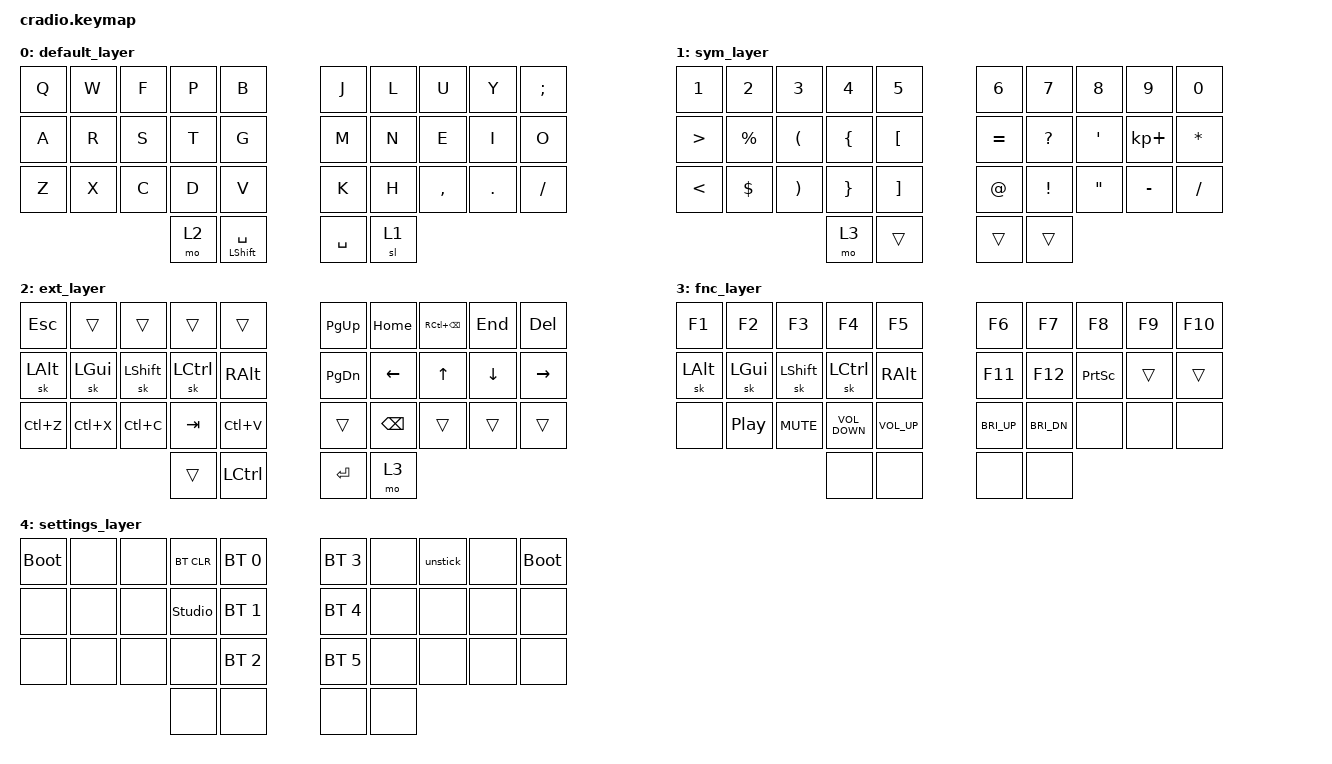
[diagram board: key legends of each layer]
/*
 * Copyright (c) 2020 The ZMK Contributors
 *
 * SPDX-License-Identifier: MIT
 */

#include <behaviors.dtsi>
#include <dt-bindings/zmk/bt.h>
#include <dt-bindings/zmk/keys.h>

// Layer definitions

#define BASE 0
#define SYM 1
#define EXT 2
#define FNC 3
#define SETTINGS 4

// -----------------

&mt {
    //  flavor = "tap-preferred";
    // tapping_term_ms = <200>;
};

&sk { ignore-modifiers; };

/ {
    macros {
        // sometimes my device thinks a modifier is being held down
        // pressing all modifiers fixes it.

        unstick: unstick {
            label = "ZM_unstick";
            compatible = "zmk,behavior-macro";
            #binding-cells = <0>;
            bindings = <&kp LSHIFT &kp RSHIFT &kp LCTRL &kp RCTRL &kp LALT &kp RALT &kp LGUI &kp RGUI>;
        };
    };

    combos {
        compatible = "zmk,combos";

        // both right thumb keys

        combo_accent {
            timeout-ms = <300>;
            key-positions = <32 33>;
            bindings = <&mo 0>;
        };

        // internal-left & external-right thumb keys

        combo_sym2 {
            timeout-ms = <200>;
            key-positions = <31 33>;
            bindings = <&mo 0>;
        };

        // both left thumb keys

        combo_settings {
            timeout-ms = <300>;
            key-positions = <30 31>;
            bindings = <&mo 4>;
        };
    };

    keymap {
        compatible = "zmk,keymap";

        // Base alpha layer

        default_layer {
            bindings = <
&kp Q  &kp W  &kp F  &kp P  &kp B               &kp J      &kp L  &kp U      &kp Y    &kp SEMICOLON
&kp A  &kp R  &kp S  &kp T  &kp G               &kp M      &kp N  &kp E      &kp I    &kp O
&kp Z  &kp X  &kp C  &kp D  &kp V               &kp K      &kp H  &kp COMMA  &kp DOT  &kp SLASH
                     &mo 2  &mt LSHIFT SPACE    &kp SPACE  &sl 1
            >;
        };

        sym_layer {
            bindings = <
&kp N1            &kp N2       &kp N3                 &kp N4          &kp N5               &kp N6       &kp N7           &kp N8             &kp N9       &kp N0
&kp GREATER_THAN  &kp PERCENT  &kp LEFT_PARENTHESIS   &kp LEFT_BRACE  &kp LEFT_BRACKET     &kp EQUAL    &kp QUESTION     &kp SQT            &kp KP_PLUS  &kp ASTERISK
&kp LESS_THAN     &kp DOLLAR   &kp RIGHT_PARENTHESIS  &kp RBRC        &kp RIGHT_BRACKET    &kp AT_SIGN  &kp EXCLAMATION  &kp DOUBLE_QUOTES  &kp MINUS    &kp SLASH
                                                      &mo 3           &trans               &trans       &trans
            >;
        };

        ext_layer {
            bindings = <
&kp ESC    &trans     &trans      &trans     &trans       &kp PG_UP  &kp HOME  &kp RC(BACKSPACE)  &kp END   &kp DEL
&sk LALT   &sk LGUI   &sk LSHIFT  &sk LCTRL  &kp RALT     &kp PG_DN  &kp LEFT  &kp UP             &kp DOWN  &kp RIGHT
&kp LC(Z)  &kp LC(X)  &kp LC(C)   &kp TAB    &kp LC(V)    &trans     &kp BSPC  &trans             &trans    &trans
                                  &trans     &kp LCTRL    &kp ENTER  &mo 3
            >;
        };

        fnc_layer {
            bindings = <
&kp F1    &kp F2    &kp F3      &kp F4             &kp F5             &kp F6        &kp F7        &kp F8           &kp F9  &kp F10
&sk LALT  &sk LGUI  &sk LSHIFT  &sk LCTRL          &kp RALT           &kp F11       &kp F12       &kp PRINTSCREEN  &trans  &trans
&none     &kp C_PP  &kp K_MUTE  &kp C_VOLUME_DOWN  &kp C_VOLUME_UP    &kp C_BRI_UP  &kp C_BRI_DN  &none            &none   &none
                                &none              &none              &none         &none
            >;
        };

        settings_layer {
            bindings = <
&bootloader  &none  &none  &bt BT_CLR      &bt BT_SEL 0    &bt BT_SEL 3  &none  &unstick  &none  &bootloader
&none        &none  &none  &studio_unlock  &bt BT_SEL 1    &bt BT_SEL 4  &none  &none     &none  &none
&none        &none  &none  &none           &bt BT_SEL 2    &bt BT_SEL 5  &none  &none     &none  &none
                           &none           &none           &none         &none
            >;
        };
    };
};
